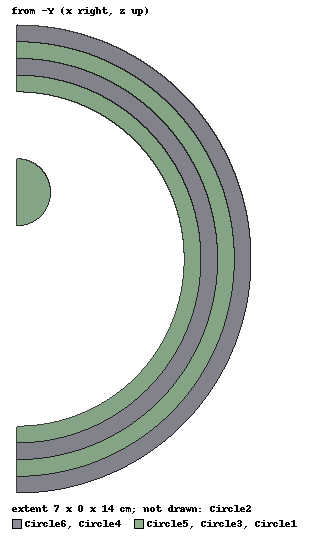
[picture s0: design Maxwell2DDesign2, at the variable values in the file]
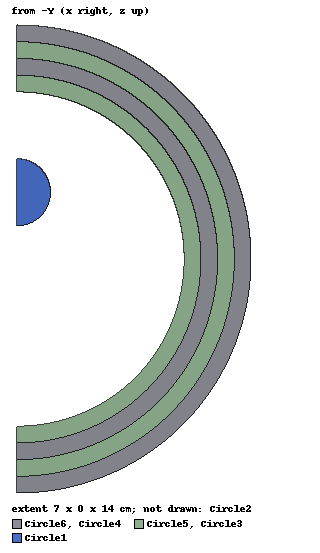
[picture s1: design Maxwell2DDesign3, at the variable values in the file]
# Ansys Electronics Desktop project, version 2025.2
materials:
  vacuum: permittivity=1
  Ext1: permittivity=1.5363 permeability=0.801713
  Ext2: permittivity=0.2472 permeability=2.88849
  Ext3: permittivity=14.892 permeability=0.163862
  Ext4: permittivity=0.0872062 permeability=37.8756
  steel_1010: permittivity=1 permeability{HUnit=A_per_meter BUnit=tesla curve (0, 0) (238.7, 0.2003) (318.3, 0.3204) (358.1, 0.40045) (437.7, 0.50055) (477.5, 0.5606) (636.6, 0.7908) (795.8, 0.931) (1114.1, 1.1014) (1273.2, 1.2016) (1591.5, 1.302) (2228.2, 1.4028) (3183.1, 1.524) (4774.6, 1.626) (6366.2, 1.698) (7957.7, 1.73) (15915.5, 1.87) (31831, 1.99) (47746.5, 2.04) (63662, 2.07) (79577.5, 2.095) (159155, 2.2) (318310, 2.4)} conductivity=2000000 lande_g_factor=2
  perfect conductor: conductivity=1e+30
  Sphere: permittivity=1 permeability=1
  Sphere_Mag: permeability=1.6 magnetic_coercivity{Magnitude=-200000 DirComp1=0 DirComp2=0 DirComp3=1}

design Maxwell2DDesign2 (Maxwell 2D, Electrostatic, about Z geometry, model units cm)
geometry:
  Circle1 [Sphere] = circle(normal=Y, centre=(0cm, 0cm, 2cm), radius=1cm)
  Circle2 [vacuum] = circle(normal=Y, centre=(0cm, 0cm, 0cm), radius=5cm)
  Circle3 [Ext1] = circle(normal=Y, centre=(0cm, 0cm, 0cm), radius=5.5cm)
  Circle4 [Ext2] = circle(normal=Y, centre=(0cm, 0cm, 0cm), radius=6cm)
  Circle5 [Ext3] = circle(normal=Y, centre=(0cm, 0cm, 0cm), radius=6.5cm)
  Circle6 [Ext4] = circle(normal=Y, centre=(0cm, 0cm, 0cm), radius=7cm)
  Circle5_1 = Circle5.copy()
  Circle6.subtract(Circle5_1)
  Circle4_1 = Circle4.copy()
  Circle5.subtract(Circle4_1)
  Circle3_1 = Circle3.copy()
  Circle4.subtract(Circle3_1)
  Circle2_1 = Circle2.copy()
  Circle3.subtract(Circle2_1)
  Circle1_1 = Circle1.copy()
  Circle2.subtract(Circle1_1)
  [Circle6, Circle5, Circle4, Circle3, Circle2, Circle1].split(plane=YZ, keep=PositiveOnly)
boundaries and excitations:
  VoltageInf: Voltage Edges=Circle6.edge(at (7, 0, 0)) Value=0V
  Voltage1: Voltage Edges=Circle1.edge(at (1, 0, 2)) Value=100V
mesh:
  initial mesh: GlobalSurfApproximation{CurvedSurfaceApproxChoice=UseSlider SliderMeshSettings=9}
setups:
  Setup1: Electrostatic MeshLink{ImportMesh LinkID=1210 Project="This Project*" Product="Maxwell 2D" Design=Maxwell2DDesign3 PathRelativeTo=TargetProject ApplyMeshOp} MaximumPasses=1 MinimumPasses=1 MinimumConvergedPasses=1 PercentRefinement=30 PercentError=1 ConstantDelta=0s NonLinearResidual=0.001
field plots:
  Mesh1: MeshPlots over Circle2.face(at (2.515, 0, 0)) on Setup1 : LastAdaptive
  Mesh2, Mesh3: MeshPlots over Circle1..Circle6 on Setup1 : LastAdaptive

design Maxwell2DDesign3 (Maxwell 2D, Magnetostatic, about Z geometry, model units cm)
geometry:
  Circle1 [Sphere_Mag] = circle(normal=Y, centre=(0cm, 0cm, 2cm), radius=1cm)
  Circle2 [vacuum] = circle(normal=Y, centre=(0cm, 0cm, 0cm), radius=5cm)
  Circle3 [Ext1] = circle(normal=Y, centre=(0cm, 0cm, 0cm), radius=5.5cm)
  Circle4 [Ext2] = circle(normal=Y, centre=(0cm, 0cm, 0cm), radius=6cm)
  Circle5 [Ext3] = circle(normal=Y, centre=(0cm, 0cm, 0cm), radius=6.5cm)
  Circle6 [Ext4] = circle(normal=Y, centre=(0cm, 0cm, 0cm), radius=7cm)
  Circle5_1 = Circle5.copy()
  Circle6.subtract(Circle5_1)
  Circle4_1 = Circle4.copy()
  Circle5.subtract(Circle4_1)
  Circle3_1 = Circle3.copy()
  Circle4.subtract(Circle3_1)
  Circle2_1 = Circle2.copy()
  Circle3.subtract(Circle2_1)
  Circle1_1 = Circle1.copy()
  Circle2.subtract(Circle1_1)
  [Circle6, Circle5, Circle4, Circle3, Circle2, Circle1].split(plane=YZ, keep=PositiveOnly)
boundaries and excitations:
  VectorPotentialInf: Vector Potential Edges=Circle6.edge(at (7, 0, 0)) Value=0
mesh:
  initial mesh: GlobalSurfApproximation{CurvedSurfaceApproxChoice=UseSlider SliderMeshSettings=9}
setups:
  Setup1: Magnetostatic MaximumPasses=15 MinimumPasses=2 MinimumConvergedPasses=1 PercentRefinement=30 PercentError=1.5e-06 NonLinearResidual=0.0001
